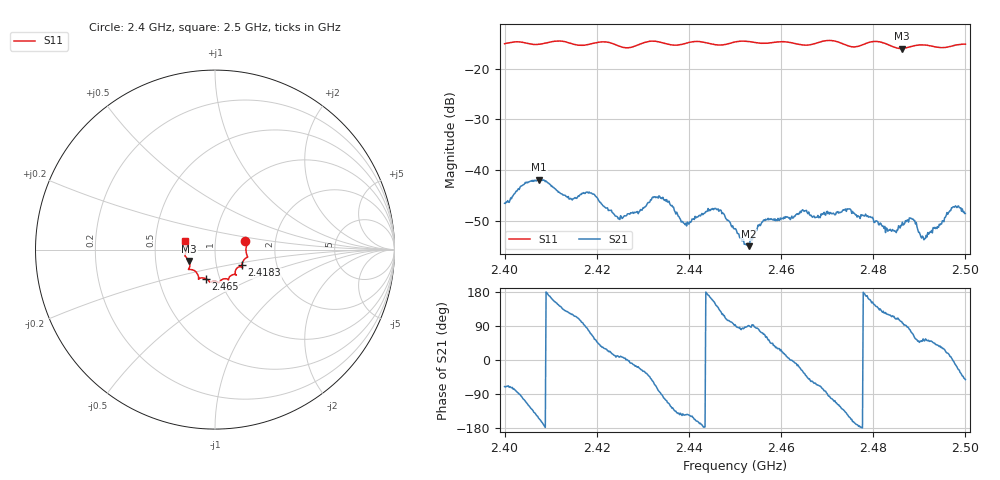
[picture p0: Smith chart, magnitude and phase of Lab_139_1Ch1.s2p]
# Hz S RI R 50
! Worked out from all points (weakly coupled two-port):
!   601 points, 2.4 GHz to 2.5 GHz, reference 50 ohm
!   highest |S21| = -41.88 dB at 2.4075 GHz (marker M1); lowest = -55.0 dB at 2.453 GHz (marker M2)
!   lowest |S11| = -16.1 dB at 2.4862 GHz (marker M3), VSWR 1.37, Z = 37.1 - j4.83 ohm
!   |S11| at or under -10 dB: start of sweep to end of sweep
!   S12 and S22 are empty: the file has one direction only
!   S11 on the Smith chart (normalised r, x): 2.4 GHz: 1.40, +0.13; 2.4183 GHz: 1.33, -0.24; 2.465 GHz: 0.86, -0.29; 2.5 GHz: 0.71, +0.07
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2.4e9  0.1694 0.0461  0.0016 -0.00443  0 0  0 0
2.404e9  0.1787 0.0275  -0.00151 -0.00699  0 0  0 0
2.4075e9  0.173 -0.00958  -0.00729 -0.00341  0 0  0 0
2.414167e9  0.1716 -0.0471  -0.00282 0.00438  0 0  0 0
2.416667e9  0.1547 -0.0678  -0.000975 0.00568  0 0  0 0
2.418333e9  0.1499 -0.0869  0.00145 0.00591  0 0  0 0
2.425167e9  0.1326 -0.0965  0.0035 0.00062  0 0  0 0
2.433333e9  0.1173 -0.141  0.00091 -0.00523  0 0  0 0
2.439e9  0.078 -0.1571  -0.00246 -0.00168  0 0  0 0
2.445833e9  0.0546 -0.1624  -0.00343 0.00241  0 0  0 0
2.45e9  0.0253 -0.1809  -0.000156 0.00265  0 0  0 0
2.453e9  0.019 -0.1834  -2.72e-05 0.00178  0 0  0 0
2.456333e9  -0.00361 -0.177  0.00121 0.00301  0 0  0 0
2.465e9  -0.0524 -0.1618  0.00322 -0.00225  0 0  0 0
2.466667e9  -0.0714 -0.1573  0.00197 -0.00289  0 0  0 0
2.4745e9  -0.0977 -0.1361  -0.00341 -0.00235  0 0  0 0
2.483333e9  -0.1412 -0.0963  -0.00128 0.00222  0 0  0 0
2.486167e9  -0.1439 -0.0634  -0.000568 0.00279  0 0  0 0
2.4885e9  -0.1603 -0.0433  0.00113 0.00309  0 0  0 0
2.490833e9  -0.1673 -0.0345  0.00124 0.00181  0 0  0 0
2.4975e9  -0.1654 0.0322  0.00435 -0.000319  0 0  0 0
2.5e9  -0.1673 0.047  0.00232 -0.00294  0 0  0 0
